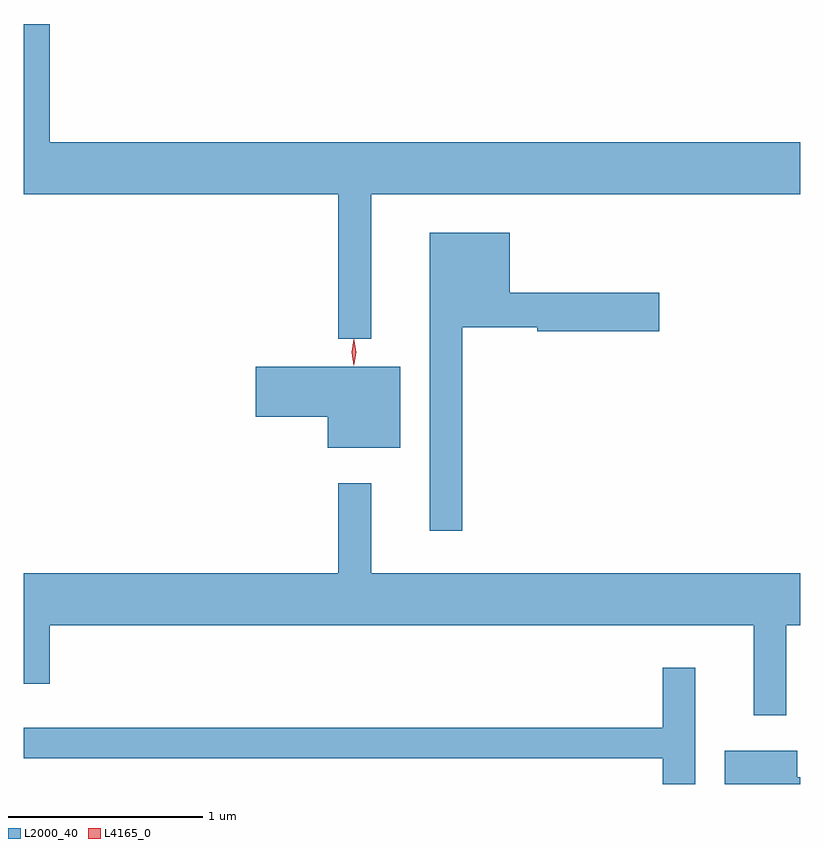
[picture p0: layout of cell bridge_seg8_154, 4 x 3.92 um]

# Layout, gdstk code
import gdstk
lib = gdstk.Library(unit=1e-6, precision=1e-09)
def P(c, l, *ps):  # polygons
    for p in ps: c.add(gdstk.Polygon(p, *l))
L2000_40 = (2000, 40)
L4165_0 = (4165, 0)

bridge_seg8_154 = lib.new_cell('bridge_seg8_154')
P(bridge_seg8_154, L2000_40, [(1435.779,1918.556),(1437.99,1918.556),(1437.99,1918.824),(1434.124,1918.824),(1434.124,1919.434),(1433.99,1919.434),(1433.99,1918.556),(1435.611,1918.556),(1435.611,1917.813),(1435.779,1917.813)],
  [(1436.249,1917.871),(1436.636,1917.871),(1436.636,1917.851),(1437.264,1917.851),(1437.264,1918.049),(1436.494,1918.049),(1436.494,1918.359),(1436.081,1918.359),(1436.081,1916.823),(1436.249,1916.823)],
  [(1435.929,1917.669),(1435.186,1917.669),(1435.186,1917.411),(1435.556,1917.411),(1435.556,1917.251),(1435.929,1917.251)],
  [(1437.919,1916.336),(1437.99,1916.336),(1437.99,1916.604),(1435.779,1916.604),(1435.779,1917.068),(1435.611,1917.068),(1435.611,1916.604),(1433.99,1916.604),(1433.99,1916.036),(1434.124,1916.036),(1434.124,1916.336),(1437.751,1916.336),(1437.751,1915.873),(1437.919,1915.873)],
  [(1437.449,1916.118),(1437.281,1916.118),(1437.281,1915.809),(1433.99,1915.809),(1433.99,1915.651),(1437.281,1915.651),(1437.281,1915.519),(1437.449,1915.519)],
  [(1437.99,1915.554),(1437.974,1915.554),(1437.974,1915.689),(1437.601,1915.689),(1437.601,1915.519),(1437.99,1915.519)])
P(bridge_seg8_154, L4165_0, [(1435.689,1917.674),(1435.689,1917.674),(1435.679,1917.742),(1435.689,1917.81),(1435.689,1917.81),(1435.69,1917.81),(1435.699,1917.742),(1435.69,1917.674)],
  [(1435.692,1917.68),(1435.692,1917.68),(1435.682,1917.743),(1435.692,1917.806),(1435.692,1917.807),(1435.693,1917.806),(1435.702,1917.743),(1435.693,1917.68)])

lib.write_gds('bridge_seg8_154.gds')
